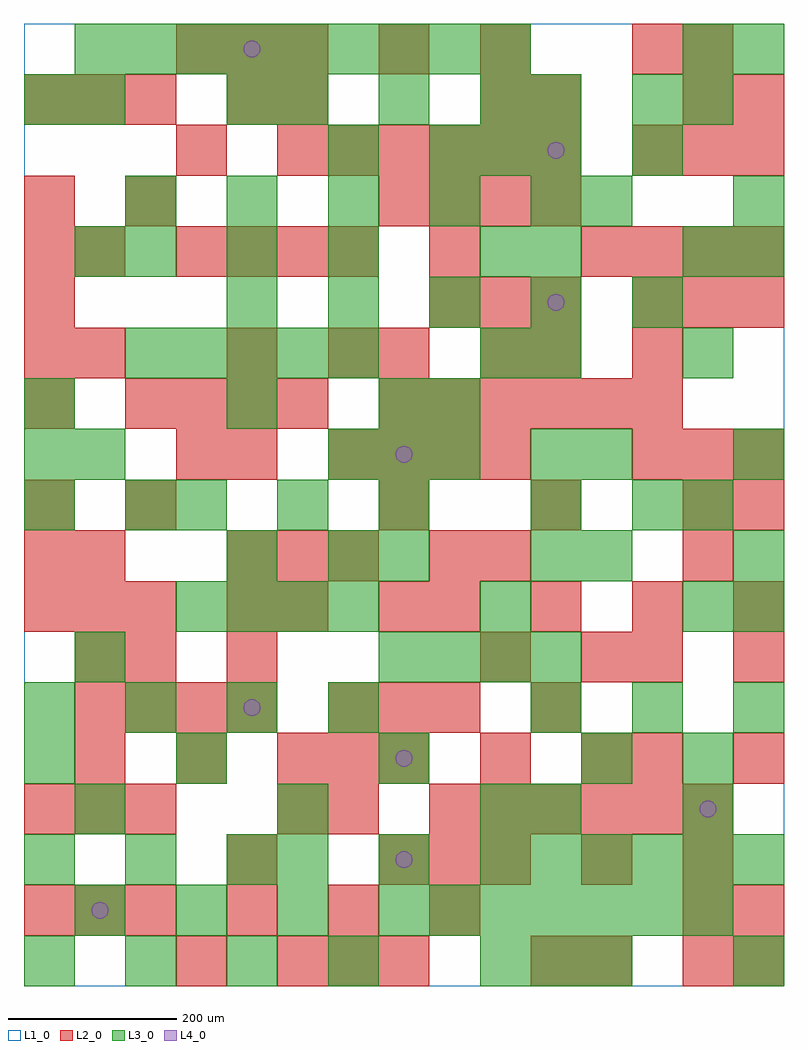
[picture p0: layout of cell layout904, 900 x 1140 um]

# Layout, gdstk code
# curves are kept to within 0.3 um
import gdstk
lib = gdstk.Library(unit=1e-6, precision=1e-09)
def R(c, l, rs):  # rectangles x0, y0, x1, y1
    for r in rs: c.add(gdstk.rectangle(r[:2], r[2:], *l))
def A(c, l, x, y, w, h, nx, ny, dx, dy):  # array of equal rectangles
    R(c, l, [(x+i*dx, y+j*dy, x+i*dx+w, y+j*dy+h) for i in range(nx) for j in range(ny)])
def P(c, l, *ps):  # polygons
    for p in ps: c.add(gdstk.Polygon(p, *l))
L1_0 = (1, 0)
L2_0 = (2, 0)
L3_0 = (3, 0)
L4_0 = (4, 0)

layout904 = lib.new_cell('layout904')
R(layout904, L1_0, [(0,0,900,1140)])
A(layout904, L2_0, 300, 0, 60, 60, 3, 1, 60, 0)
A(layout904, L2_0, 780, 0, 60, 60, 1, 3, 0, 60)
A(layout904, L2_0, 0, 60, 60, 60, 3, 2, 60, 120)
A(layout904, L2_0, 240, 60, 60, 60, 3, 1, 120, 0)
A(layout904, L2_0, 420, 120, 60, 60, 3, 1, 60, 0)
A(layout904, L2_0, 480, 180, 60, 60, 6, 1, 60, 0)
A(layout904, L2_0, 60, 240, 60, 60, 3, 1, 120, 0)
A(layout904, L2_0, 420, 240, 60, 60, 3, 1, 120, 0)
A(layout904, L2_0, 60, 300, 60, 60, 4, 1, 60, 0)
A(layout904, L2_0, 360, 300, 60, 60, 3, 1, 60, 0)
A(layout904, L2_0, 720, 360, 60, 60, 1, 3, 0, 360)
A(layout904, L2_0, 0, 420, 60, 60, 3, 2, 60, 600)
A(layout904, L2_0, 480, 420, 60, 60, 4, 1, 120, 0)
A(layout904, L2_0, 240, 480, 60, 60, 3, 1, 60, 0)
A(layout904, L2_0, 420, 540, 60, 60, 3, 1, 180, 0)
A(layout904, L2_0, 360, 600, 60, 60, 4, 1, 60, 0)
A(layout904, L2_0, 720, 600, 60, 60, 3, 3, 60, 180)
A(layout904, L2_0, 0, 660, 60, 60, 1, 5, 0, 60)
A(layout904, L2_0, 120, 660, 60, 60, 4, 1, 60, 0)
A(layout904, L2_0, 420, 660, 60, 60, 6, 1, 60, 0)
A(layout904, L2_0, 480, 780, 60, 60, 3, 1, 60, 0)
A(layout904, L2_0, 180, 840, 60, 60, 4, 1, 60, 0)
A(layout904, L2_0, 660, 840, 60, 60, 4, 1, 60, 0)
A(layout904, L2_0, 420, 900, 60, 60, 4, 1, 60, 0)
A(layout904, L2_0, 300, 960, 60, 60, 6, 1, 60, 0)
A(layout904, L2_0, 180, 1080, 60, 60, 3, 1, 60, 0)
R(layout904, L2_0, [(180,0,240,60), (600,0,660,60), (660,0,720,60), (840,0,900,60), (840,60,900,120), (240,120,300,180), (660,120,720,180), (300,180,360,240), (360,180,420,240), (360,240,420,300), (720,240,780,300), (840,240,900,300), (600,300,660,360), (60,360,120,420), (120,360,180,420), (240,360,300,420), (540,360,600,420), (660,360,720,420), (840,360,900,420), (240,420,300,480), (300,420,360,480), (420,420,480,480), (0,480,60,540), (60,480,120,540), (480,480,540,540), (540,480,600,540), (780,480,840,540), (0,540,60,600), (120,540,180,600), (840,540,900,600), (180,600,240,660), (240,600,300,660), (60,720,120,780), (240,720,300,780), (360,720,420,780), (420,720,480,780), (540,720,600,780), (600,720,660,780), (60,840,120,900), (480,840,540,900), (120,900,180,960), (180,960,240,1020), (240,1020,300,1080), (300,1020,360,1080), (540,1020,600,1080), (600,1020,660,1080), (780,1020,840,1080), (840,1020,900,1080), (420,1080,480,1140), (540,1080,600,1140), (780,1080,840,1140)])
A(layout904, L3_0, 0, 0, 60, 60, 4, 2, 120, 300)
A(layout904, L3_0, 540, 0, 60, 60, 3, 1, 60, 0)
A(layout904, L3_0, 60, 60, 60, 60, 4, 1, 120, 0)
A(layout904, L3_0, 480, 60, 60, 60, 6, 1, 60, 0)
A(layout904, L3_0, 0, 120, 60, 60, 3, 1, 120, 0)
A(layout904, L3_0, 300, 120, 60, 60, 3, 2, 120, 900)
A(layout904, L3_0, 600, 120, 60, 60, 5, 1, 60, 0)
A(layout904, L3_0, 60, 180, 60, 60, 3, 1, 240, 0)
A(layout904, L3_0, 180, 240, 60, 60, 3, 1, 240, 0)
A(layout904, L3_0, 600, 300, 60, 60, 3, 1, 120, 0)
A(layout904, L3_0, 60, 360, 60, 60, 1, 3, 0, 240)
A(layout904, L3_0, 420, 360, 60, 60, 4, 1, 60, 0)
A(layout904, L3_0, 180, 420, 60, 60, 4, 1, 60, 0)
A(layout904, L3_0, 600, 480, 60, 60, 1, 3, 0, 60)
A(layout904, L3_0, 0, 540, 60, 60, 1, 3, 0, 60)
A(layout904, L3_0, 180, 540, 60, 60, 3, 1, 120, 0)
A(layout904, L3_0, 360, 600, 60, 60, 3, 1, 60, 0)
A(layout904, L3_0, 120, 720, 60, 60, 5, 1, 60, 0)
A(layout904, L3_0, 240, 780, 60, 60, 5, 1, 120, 0)
A(layout904, L3_0, 120, 840, 60, 60, 3, 1, 120, 0)
A(layout904, L3_0, 120, 900, 60, 60, 5, 1, 120, 0)
A(layout904, L3_0, 480, 960, 60, 60, 3, 1, 60, 0)
A(layout904, L3_0, 60, 1080, 60, 60, 9, 1, 60, 0)
R(layout904, L3_0, [(840,0,900,60), (600,180,660,240), (780,180,840,240), (0,240,60,300), (780,240,840,300), (540,420,600,480), (780,420,840,480), (840,420,900,480), (240,480,300,540), (360,480,420,540), (420,480,480,540), (660,480,720,540), (840,480,900,540), (120,540,180,600), (720,540,780,600), (780,540,840,600), (660,600,720,660), (840,600,900,660), (240,660,300,720), (420,660,480,720), (480,660,540,720), (540,720,600,780), (600,720,660,780), (780,720,840,780), (540,840,600,900), (600,840,660,900), (780,840,840,900), (840,840,900,900), (660,900,720,960), (840,900,900,960), (360,960,420,1020), (720,960,780,1020), (0,1020,60,1080), (60,1020,120,1080), (240,1020,300,1080), (600,1020,660,1080), (720,1020,780,1080), (780,1020,840,1080), (780,1080,840,1140), (840,1080,900,1140)])
P(layout904, L4_0, [(100,90),(99.239,93.827),(97.071,97.071),(93.827,99.239),(90,100),(86.173,99.239),(82.929,97.071),(80.761,93.827),(80,90),(80.761,86.173),(82.929,82.929),(86.173,80.761),(90,80),(93.827,80.761),(97.071,82.929),(99.239,86.173)],
  [(280,330),(279.239,333.827),(277.071,337.071),(273.827,339.239),(270,340),(266.173,339.239),(262.929,337.071),(260.761,333.827),(260,330),(260.761,326.173),(262.929,322.929),(266.173,320.761),(270,320),(273.827,320.761),(277.071,322.929),(279.239,326.173)],
  [(280,1110),(279.239,1113.827),(277.071,1117.071),(273.827,1119.239),(270,1120),(266.173,1119.239),(262.929,1117.071),(260.761,1113.827),(260,1110),(260.761,1106.173),(262.929,1102.929),(266.173,1100.761),(270,1100),(273.827,1100.761),(277.071,1102.929),(279.239,1106.173)],
  [(460,150),(459.239,153.827),(457.071,157.071),(453.827,159.239),(450,160),(446.173,159.239),(442.929,157.071),(440.761,153.827),(440,150),(440.761,146.173),(442.929,142.929),(446.173,140.761),(450,140),(453.827,140.761),(457.071,142.929),(459.239,146.173)],
  [(460,270),(459.239,273.827),(457.071,277.071),(453.827,279.239),(450,280),(446.173,279.239),(442.929,277.071),(440.761,273.827),(440,270),(440.761,266.173),(442.929,262.929),(446.173,260.761),(450,260),(453.827,260.761),(457.071,262.929),(459.239,266.173)],
  [(460,630),(459.239,633.827),(457.071,637.071),(453.827,639.239),(450,640),(446.173,639.239),(442.929,637.071),(440.761,633.827),(440,630),(440.761,626.173),(442.929,622.929),(446.173,620.761),(450,620),(453.827,620.761),(457.071,622.929),(459.239,626.173)],
  [(640,810),(639.239,813.827),(637.071,817.071),(633.827,819.239),(630,820),(626.173,819.239),(622.929,817.071),(620.761,813.827),(620,810),(620.761,806.173),(622.929,802.929),(626.173,800.761),(630,800),(633.827,800.761),(637.071,802.929),(639.239,806.173)],
  [(640,990),(639.239,993.827),(637.071,997.071),(633.827,999.239),(630,1000),(626.173,999.239),(622.929,997.071),(620.761,993.827),(620,990),(620.761,986.173),(622.929,982.929),(626.173,980.761),(630,980),(633.827,980.761),(637.071,982.929),(639.239,986.173)],
  [(820,210),(819.239,213.827),(817.071,217.071),(813.827,219.239),(810,220),(806.173,219.239),(802.929,217.071),(800.761,213.827),(800,210),(800.761,206.173),(802.929,202.929),(806.173,200.761),(810,200),(813.827,200.761),(817.071,202.929),(819.239,206.173)])

lib.write_gds('layout904.gds')
